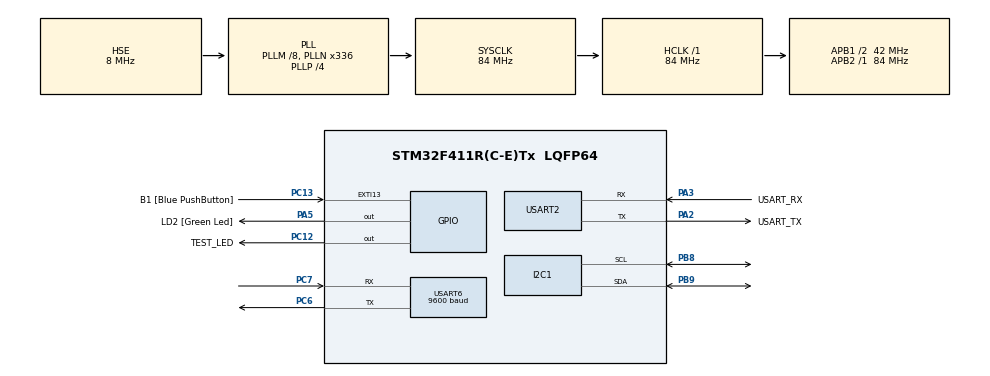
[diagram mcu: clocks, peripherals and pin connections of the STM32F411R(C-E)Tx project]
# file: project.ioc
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Mcu.Family=STM32F4
Mcu.Name=STM32F411R(C-E)Tx
Mcu.Package=LQFP64
NVIC.PriorityGroup=NVIC_PRIORITYGROUP_0
NVIC.USART2_IRQn=true\:0\:0\:false\:false\:true\:true\:true\:true
NVIC.USART6_IRQn=true\:0\:0\:false\:false\:true\:true\:true\:true
PA13.GPIO_Label=TMS
PA13.Mode=Serial_Wire
PA13.Signal=SYS_JTMS-SWDIO
PA14.GPIO_Label=TCK
PA14.Mode=Serial_Wire
PA14.Signal=SYS_JTCK-SWCLK
PA2.GPIO_Label=USART_TX
PA2.Mode=Asynchronous
PA2.Signal=USART2_TX
PA3.GPIO_Label=USART_RX
PA3.Mode=Asynchronous
PA3.Signal=USART2_RX
PA5.GPIO_Label=LD2 [Green Led]
PA5.Signal=GPIO_Output
PB3.GPIO_Label=SWO
PB3.Signal=SYS_JTDO-SWO
PB8.Mode=I2C
PB8.Signal=I2C1_SCL
PB9.Mode=I2C
PB9.Signal=I2C1_SDA
PC12.GPIO_Label=TEST_LED
PC12.Signal=GPIO_Output
PC13-ANTI_TAMP.GPIO_Label=B1 [Blue PushButton]
PC13-ANTI_TAMP.GPIO_ModeDefaultEXTI=GPIO_MODE_IT_FALLING
PC13-ANTI_TAMP.Signal=GPXTI13
PC14-OSC32_IN.Mode=LSE-External-Oscillator
PC14-OSC32_IN.Signal=RCC_OSC32_IN
PC15-OSC32_OUT.Mode=LSE-External-Oscillator
PC15-OSC32_OUT.Signal=RCC_OSC32_OUT
PC6.Mode=Asynchronous
PC6.Signal=USART6_TX
PC7.Mode=Asynchronous
PC7.Signal=USART6_RX
PH0\ -\ OSC_IN.Mode=HSE-External-Oscillator
PH0\ -\ OSC_IN.Signal=RCC_OSC_IN
PH1\ -\ OSC_OUT.Mode=HSE-External-Oscillator
PH1\ -\ OSC_OUT.Signal=RCC_OSC_OUT
ProjectManager.HeapSize=0x200
ProjectManager.StackSize=0x400
ProjectManager.TargetToolchain=STM32CubeIDE
RCC.48MHZClocksFreq_Value=84000000
RCC.AHBFreq_Value=84000000
RCC.APB1CLKDivider=RCC_HCLK_DIV2
RCC.APB1Freq_Value=42000000
RCC.APB1TimFreq_Value=84000000
RCC.APB2Freq_Value=84000000
RCC.APB2TimFreq_Value=84000000
RCC.CortexFreq_Value=84000000
RCC.FLatency-AdvancedSettings=FLASH_LATENCY_2
RCC.HCLKFreq_Value=84000000
RCC.HSE_VALUE=8000000
RCC.HSI_VALUE=16000000
RCC.PLLM=8
RCC.PLLN=336
RCC.PLLP=RCC_PLLP_DIV4
RCC.PLLSourceVirtual=RCC_PLLSOURCE_HSE
RCC.SYSCLKFreq_VALUE=84000000
RCC.SYSCLKSource=RCC_SYSCLKSOURCE_PLLCLK
RCC.VCOOutputFreq_Value=336000000
TIM3.AutoReloadPreload=TIM_AUTORELOAD_PRELOAD_ENABLE
TIM3.Period=1000-1
TIM3.Prescaler=84-1
USART2.VirtualMode=VM_ASYNC
USART6.BaudRate=9600
USART6.VirtualMode=VM_ASYNC
VP_TIM3_VS_ClockSourceINT.Mode=Internal
board=NUCLEO-F411RE

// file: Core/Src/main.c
/* USER CODE BEGIN Header */
/**
  ******************************************************************************
  * @file           : main.c
  * @brief          : Main program body
  ******************************************************************************
  * @attention
  *
  * Copyright (c) 2024 STMicroelectronics.
  * All rights reserved.
  *
  * This software is licensed under terms that can be found in the LICENSE file
  * in the root directory of this software component.
  * If no LICENSE file comes with this software, it is provided AS-IS.
  *
  ******************************************************************************
  */
/* USER CODE END Header */
#include "main.h"

/* USER CODE BEGIN Includes */
#include <stdio.h>
#include <string.h>
#include <stdlib.h>
/* USER CODE END Includes */

/* USER CODE BEGIN PD */
#ifdef __GNUC__
/* With GCC, small printf (option LD Linker->Libraries->Small printf
   set to 'Yes') calls __io_putchar() */
#define PUTCHAR_PROTOTYPE int __io_putchar(int ch)
#else
#define PUTCHAR_PROTOTYPE int fputc(int ch, FILE *f)
#endif /* __GNUC__ */
#define ARR_CNT 5
#define CMD_SIZE 50
/* USER CODE END PD */

I2C_HandleTypeDef hi2c1;

TIM_HandleTypeDef htim3;

UART_HandleTypeDef huart2;
UART_HandleTypeDef huart6;

/* USER CODE BEGIN PV */
uint8_t rx2char;
volatile unsigned char rx2Flag = 0;
volatile char rx2Data[50];
volatile unsigned char btFlag = 0;
uint8_t btchar;
char btData[100];
/* USER CODE END PV */

void SystemClock_Config(void);
static void MX_GPIO_Init(void);
static void MX_USART2_UART_Init(void);
static void MX_USART6_UART_Init(void);
static void MX_TIM3_Init(void);
static void MX_I2C1_Init(void);
/* USER CODE BEGIN PFP */
void bluetooth_Event();
/* USER CODE END PFP */

int main(void)
{

  /* MCU Configuration--------------------------------------------------------*/

  /* Reset of all peripherals, Initializes the Flash interface and the Systick. */
  HAL_Init();

  /* Configure the system clock */
  SystemClock_Config();

  /* Initialize all configured peripherals */
  MX_GPIO_Init();
  MX_USART2_UART_Init();
  MX_USART6_UART_Init();
  MX_TIM3_Init();
  MX_I2C1_Init();
  LCD_init(&hi2c1);
  /* USER CODE BEGIN 2 */
  HAL_UART_Receive_IT(&huart2, &rx2char,1);
  HAL_UART_Receive_IT(&huart6, &btchar,1);
  printf("start main - project()\r\n");
  LCD_writeStringXY(0, 0, "Waiting for User");
//  char buf[10] = "Hello\r";
  /* USER CODE END 2 */
//  LCD_writeStringXY(0, 0, "hello lcd");
  /* Infinite loop */
  /* USER CODE BEGIN WHILE */
  while (1)
  {
	  if(rx2Flag)
	  {
			printf("recv2 : %s\r\n",rx2Data);
			rx2Flag =0;
	//	    HAL_UART_Transmit(&huart6, (uint8_t *)buf, strlen(buf), 0xFFFF);
	  }
	  if(btFlag)
	  {
//		printf("bt : %s\r\n",btData);
			btFlag =0;
			bluetooth_Event();
	  }
//	  HAL_GPIO_TogglePin(GPIOC, GPIO_PIN_13);
//	  HAL_Delay(500);

    /* USER CODE END WHILE */

  }
}

void SystemClock_Config(void)
{
  RCC_OscInitTypeDef RCC_OscInitStruct = {0};
  RCC_ClkInitTypeDef RCC_ClkInitStruct = {0};

  /** Configure the main internal regulator output voltage
  */
  __HAL_RCC_PWR_CLK_ENABLE();
  __HAL_PWR_VOLTAGESCALING_CONFIG(PWR_REGULATOR_VOLTAGE_SCALE1);

  /** Initializes the RCC Oscillators according to the specified parameters
  * in the RCC_OscInitTypeDef structure.
  */
  RCC_OscInitStruct.OscillatorType = RCC_OSCILLATORTYPE_HSE;
  RCC_OscInitStruct.HSEState = RCC_HSE_ON;
  RCC_OscInitStruct.PLL.PLLState = RCC_PLL_ON;
  RCC_OscInitStruct.PLL.PLLSource = RCC_PLLSOURCE_HSE;
  RCC_OscInitStruct.PLL.PLLM = 8;
  RCC_OscInitStruct.PLL.PLLN = 336;
  RCC_OscInitStruct.PLL.PLLP = RCC_PLLP_DIV4;
  RCC_OscInitStruct.PLL.PLLQ = 4;
  if (HAL_RCC_OscConfig(&RCC_OscInitStruct) != HAL_OK)
  {
    Error_Handler();
  }

  /** Initializes the CPU, AHB and APB buses clocks
  */
  RCC_ClkInitStruct.ClockType = RCC_CLOCKTYPE_HCLK|RCC_CLOCKTYPE_SYSCLK
                              |RCC_CLOCKTYPE_PCLK1|RCC_CLOCKTYPE_PCLK2;
  RCC_ClkInitStruct.SYSCLKSource = RCC_SYSCLKSOURCE_PLLCLK;
  RCC_ClkInitStruct.AHBCLKDivider = RCC_SYSCLK_DIV1;
  RCC_ClkInitStruct.APB1CLKDivider = RCC_HCLK_DIV2;
  RCC_ClkInitStruct.APB2CLKDivider = RCC_HCLK_DIV1;

  if (HAL_RCC_ClockConfig(&RCC_ClkInitStruct, FLASH_LATENCY_2) != HAL_OK)
  {
    Error_Handler();
  }
}

static void MX_I2C1_Init(void)
{

  hi2c1.Instance = I2C1;
  hi2c1.Init.ClockSpeed = 10000;
  hi2c1.Init.DutyCycle = I2C_DUTYCYCLE_2;
  hi2c1.Init.OwnAddress1 = 0;
  hi2c1.Init.AddressingMode = I2C_ADDRESSINGMODE_7BIT;
  hi2c1.Init.DualAddressMode = I2C_DUALADDRESS_DISABLE;
  hi2c1.Init.OwnAddress2 = 0;
  hi2c1.Init.GeneralCallMode = I2C_GENERALCALL_DISABLE;
  hi2c1.Init.NoStretchMode = I2C_NOSTRETCH_DISABLE;
  if (HAL_I2C_Init(&hi2c1) != HAL_OK)
  {
    Error_Handler();
  }

}

static void MX_TIM3_Init(void)
{

  TIM_ClockConfigTypeDef sClockSourceConfig = {0};
  TIM_MasterConfigTypeDef sMasterConfig = {0};

  htim3.Instance = TIM3;
  htim3.Init.Prescaler = 84-1;
  htim3.Init.CounterMode = TIM_COUNTERMODE_UP;
  htim3.Init.Period = 1000-1;
  htim3.Init.ClockDivision = TIM_CLOCKDIVISION_DIV1;
  htim3.Init.AutoReloadPreload = TIM_AUTORELOAD_PRELOAD_ENABLE;
  if (HAL_TIM_Base_Init(&htim3) != HAL_OK)
  {
    Error_Handler();
  }
  sClockSourceConfig.ClockSource = TIM_CLOCKSOURCE_INTERNAL;
  if (HAL_TIM_ConfigClockSource(&htim3, &sClockSourceConfig) != HAL_OK)
  {
    Error_Handler();
  }
  sMasterConfig.MasterOutputTrigger = TIM_TRGO_RESET;
  sMasterConfig.MasterSlaveMode = TIM_MASTERSLAVEMODE_DISABLE;
  if (HAL_TIMEx_MasterConfigSynchronization(&htim3, &sMasterConfig) != HAL_OK)
  {
    Error_Handler();
  }

}

static void MX_USART2_UART_Init(void)
{

  huart2.Instance = USART2;
  huart2.Init.BaudRate = 115200;
  huart2.Init.WordLength = UART_WORDLENGTH_8B;
  huart2.Init.StopBits = UART_STOPBITS_1;
  huart2.Init.Parity = UART_PARITY_NONE;
  huart2.Init.Mode = UART_MODE_TX_RX;
  huart2.Init.HwFlowCtl = UART_HWCONTROL_NONE;
  huart2.Init.OverSampling = UART_OVERSAMPLING_16;
  if (HAL_UART_Init(&huart2) != HAL_OK)
  {
    Error_Handler();
  }

}

static void MX_USART6_UART_Init(void)
{

  huart6.Instance = USART6;
  huart6.Init.BaudRate = 9600;
  huart6.Init.WordLength = UART_WORDLENGTH_8B;
  huart6.Init.StopBits = UART_STOPBITS_1;
  huart6.Init.Parity = UART_PARITY_NONE;
  huart6.Init.Mode = UART_MODE_TX_RX;
  huart6.Init.HwFlowCtl = UART_HWCONTROL_NONE;
  huart6.Init.OverSampling = UART_OVERSAMPLING_16;
  if (HAL_UART_Init(&huart6) != HAL_OK)
  {
    Error_Handler();
  }

}

static void MX_GPIO_Init(void)
{
  GPIO_InitTypeDef GPIO_InitStruct = {0};

  /* GPIO Ports Clock Enable */
  __HAL_RCC_GPIOC_CLK_ENABLE();
  __HAL_RCC_GPIOH_CLK_ENABLE();
  __HAL_RCC_GPIOA_CLK_ENABLE();
  __HAL_RCC_GPIOB_CLK_ENABLE();

  /*Configure GPIO pin Output Level */
  HAL_GPIO_WritePin(LD2_GPIO_Port, LD2_Pin, GPIO_PIN_RESET);

  /*Configure GPIO pin Output Level */
  HAL_GPIO_WritePin(TEST_LED_GPIO_Port, TEST_LED_Pin, GPIO_PIN_RESET);

  /*Configure GPIO pin : B1_Pin */
  GPIO_InitStruct.Pin = B1_Pin;
  GPIO_InitStruct.Mode = GPIO_MODE_IT_FALLING;
  GPIO_InitStruct.Pull = GPIO_NOPULL;
  HAL_GPIO_Init(B1_GPIO_Port, &GPIO_InitStruct);

  /*Configure GPIO pin : LD2_Pin */
  GPIO_InitStruct.Pin = LD2_Pin;
  GPIO_InitStruct.Mode = GPIO_MODE_OUTPUT_PP;
  GPIO_InitStruct.Pull = GPIO_NOPULL;
  GPIO_InitStruct.Speed = GPIO_SPEED_FREQ_LOW;
  HAL_GPIO_Init(LD2_GPIO_Port, &GPIO_InitStruct);

  /*Configure GPIO pin : TEST_LED_Pin */
  GPIO_InitStruct.Pin = TEST_LED_Pin;
  GPIO_InitStruct.Mode = GPIO_MODE_OUTPUT_PP;
  GPIO_InitStruct.Pull = GPIO_NOPULL;
  GPIO_InitStruct.Speed = GPIO_SPEED_FREQ_LOW;
  HAL_GPIO_Init(TEST_LED_GPIO_Port, &GPIO_InitStruct);

}

/* USER CODE BEGIN 4 */
void MX_GPIO_LED_ON(int pin)
{
	HAL_GPIO_WritePin(LD2_GPIO_Port, pin, GPIO_PIN_SET);
}
void MX_GPIO_LED_OFF(int pin)
{
	HAL_GPIO_WritePin(LD2_GPIO_Port, pin, GPIO_PIN_RESET);
}
void bluetooth_Event()
{

  int i=0;
  char * pToken;
  char * pArray[ARR_CNT]={0};
  char recvBuf[CMD_SIZE]={0};
  char sendBuf[CMD_SIZE]={0};
  strcpy(recvBuf,btData);

  printf("btData : %s\r\n",btData);

  pToken = strtok(recvBuf,"[@]");
  while(pToken != NULL)
  {
    pArray[i] =  pToken;
    if(++i >= ARR_CNT)
      break;
    pToken = strtok(NULL,"[@]");
  }
//  printf("pArray[0] : %s\r\n",pArray[0]);
//  printf("pArray[1] : %s\r\n",pArray[1]);
//  printf("pArray[2] : %s\r\n",pArray[2]);

  if(!strcmp(pArray[1],"LED"))
  {
		if(!strcmp(pArray[2],"ON"))
		{
			MX_GPIO_LED_ON(LD2_Pin);
			HAL_GPIO_WritePin(TEST_LED_GPIO_Port, TEST_LED_Pin, GPIO_PIN_SET);
		}
		else if(!strcmp(pArray[2],"OFF"))
		{
			MX_GPIO_LED_OFF(LD2_Pin);
			HAL_GPIO_WritePin(TEST_LED_GPIO_Port, TEST_LED_Pin, GPIO_PIN_RESET);
		}
  }
  if (!strcmp(pArray[2], "SENSOR"))
  {
    // 첫 번째 열에 user3 이름을 표시
	LCD_writeStringXY(0, 0, " ");
    LCD_writeStringXY(0, 1, pArray[1]);
    LCD_writeStringXY(0, 6, " : SENSOR ");

    // pArray[3] 값이 게이지를 채우는데 사용됨
    int gauge_value = atoi(pArray[3]);  // pArray[3]을 숫자로 변환
    if (gauge_value < 0) gauge_value = 0;
    if (gauge_value > 100) gauge_value = 100;

    // LCD의 두 번째 열에 게이지 채우기
    int gauge_length = (gauge_value * 16) / 100;  // 0~100 범위를 0~16로 나누어 길이 계산 (16단위로 구분)

    // 기존 게이지 지우기: 두 번째 줄에 공백으로 덮어씌운다.
    char blank[16] = "                ";  // 공백 16칸
    LCD_writeStringXY(1, 0, blank);  // 두 번째 줄을 공백으로 덮어씌움

    // 새로운 게이지 그리기: 'l'은 채운 부분을 나타내고, 공백은 빈 공간을 나타냄
    char gauge[16] = {0};  // 최대 16칸의 게이지 표시
    for (int j = 0; j < gauge_length; j++) {
      gauge[j] = '=';  // 채운 부분
    }
    LCD_writeStringXY(1, 0, gauge);  // 두 번째 열에 게이지 출력
  }

  else if(!strncmp(pArray[1]," New conn",sizeof(" New conn")))
  {
      return;
  }
  else if(!strncmp(pArray[1]," Already log",sizeof(" Already log")))
  {
      return;
  }
  else
      return;

//  sprintf(sendBuf,"[%s]%s@%s%s\n",pArray[0],pArray[1],pArray[2]);
  sprintf(sendBuf,"[KSH_AND]Update Done....\n");
  HAL_UART_Transmit(&huart6, (uint8_t *)sendBuf, strlen(sendBuf), 0xFFFF);

}
/**
  * @brief  Retargets the C library printf function to the USART.
  * @param  None
  * @retval None
  */
PUTCHAR_PROTOTYPE
{
  /* Place your implementation of fputc here */
  /* e.g. write a character to the USART6 and Loop until the end of transmission */
  HAL_UART_Transmit(&huart2, (uint8_t *)&ch, 1, 0xFFFF);

  return ch;
}
void HAL_UART_RxCpltCallback(UART_HandleTypeDef *huart)
{
    if(huart->Instance == USART2)
    {
    	static int i=0;
    	rx2Data[i] = rx2char;
    	if((rx2Data[i] == '\r')||(btData[i] == '\n'))
    	{
    		rx2Data[i] = '\0';
    		rx2Flag = 1;
    		i = 0;
    	}
    	else
    	{
    		i++;
    	}
    	HAL_UART_Receive_IT(&huart2, &rx2char,1);
    }
    if(huart->Instance == USART6)
    {
    	static int i=0;
    	btData[i] = btchar;
    	if((btData[i] == '\n') || btData[i] == '\r')
    	{
    		btData[i] = '\0';
    		btFlag = 1;
    		i = 0;
    	}
    	else
    	{
    		i++;
    	}
    	HAL_UART_Receive_IT(&huart6, &btchar,1);
    }
}
/* USER CODE END 4 */

void Error_Handler(void)
{
  __disable_irq();
  while (1)
  {
  }
}
